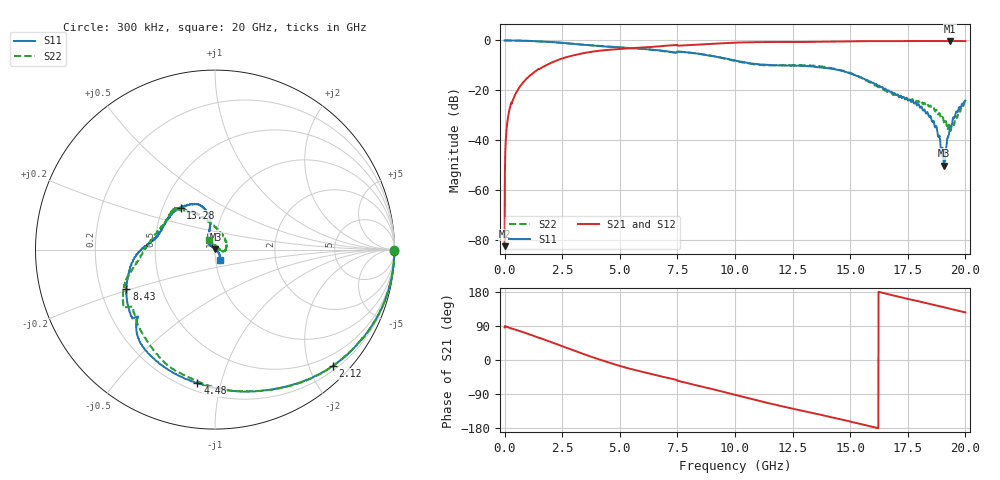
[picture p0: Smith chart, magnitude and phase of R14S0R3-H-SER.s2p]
!{R14S0R3}
!Johanson Technology Inc.
!www.johansontechnology.com
!Test Board Conditions:
!Substrate Type  RO4350B
!Substrate Thickness  20 mil
!Substrate Dk  3.66
!TL Type: GCPW
!TL Trace Width  36 mil
!TL Gap  12 mil
!Electrode orientation  Horizontal
!DUT TOPOLOGY	SERIES
!Mounting Pad LxW  26x36 mil
! Created Wed Nov 25 17:33:21 2020
! 2 Port Network Data from SP1.SP block
! freq  magS11  angS11  magS21  angS21  magS12  angS12  magS22  angS22
# khz S ma R 50
! decimated to every 10th point (10 MHz spacing) of the original 1 MHz Johanson file; values unchanged
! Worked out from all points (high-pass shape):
!   2001 points, 300 kHz to 20 GHz, reference 50 ohm
!   highest |S21| = -0.21 dB at 19.34 GHz (marker M1); lowest = -82.4 dB at 300 kHz (marker M2)
!   |S21| within 3 dB of the highest: 5.307 GHz to end of sweep
!   lowest |S11| = -50.1 dB at 19.06 GHz (marker M3), VSWR 1.01, Z = 50.3 + j0.183 ohm
!   |S11| at or under -10 dB: 12.23 GHz to 12.35 GHz (118.8 MHz wide, 0.967 % of centre); 12.35 GHz to 12.49 GHz (135.3 MHz wide, 1.09 % of centre); 12.5 GHz to end of sweep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
!   |S22| runs from -36.2 to 0.0 dB; largest |S21 - S12| = 0.011
!   S11 on the Smith chart (normalised r, x): 300 kHz: open; 2.12 GHz: 0.27, -2.41; 4.48 GHz: 0.25, -0.85; 8.43 GHz: 0.31, -0.19; 13.28 GHz: 0.62, +0.32; 20 GHz: 1.05, -0.12
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300  0.9966 -0.4  7.602e-05 85.9  0.0001273 111.6  0.9983 -0.2
120300  0.9997 -2.7  0.02347 87.3  0.02358 87.1  0.9991 -2.6
190300  0.9981 -4.3  0.03716 85.3  0.03731 85.4  0.9993 -4.2
310300  0.9974 -6.3  0.05537 83.2  0.05558 83.1  0.9982 -6.3
970300  0.9822 -19.9  0.1747 70.0  0.1747 69.9  0.9838 -19.8
2120300  0.9233 -44.6  0.374 45.0  0.3746 45.2  0.9223 -44.8
3340300  0.8267 -72.3  0.5462 17.7  0.5476 17.7  0.827 -72.1
4480300  0.7503 -97.5  0.6461 -5.7  0.6468 -5.9  0.754 -93.9
6670300  0.6355 -133.3  0.7606 -41.4  0.7625 -41.2  0.627 -128.4
8430300  0.5397 -156.1  0.8269 -68.4  0.8278 -68.2  0.5413 -158.7
1.00003e7  0.3995 178.3  0.9009 -91.9  0.9043 -91.9  0.3909 179.5
1.32803e7  0.3024 129.5  0.9365 -138.7  0.9347 -138.7  0.3164 133.6
1.33403e7  0.2997 127.0  0.9368 -139.7  0.9341 -139.7  0.3121 133.8
1.50303e7  0.2161 101.8  0.9586 -162.8  0.9592 -162.7  0.2183 116.7
1.66703e7  0.09972 110.1  0.9735 173.3  0.9732 173.6  0.09406 62.0
1.79003e7  0.04981 136.5  0.9728 155.7  0.9713 155.9  0.05793 -1.0
1.84203e7  0.02975 137.8  0.9722 148.5  0.971 148.4  0.04724 -12.3
1.86903e7  0.01815 135.3  0.9737 144.6  0.9752 144.8  0.03793 -11.8
1.90603e7  0.003132 35.5  0.9725 139.2  0.9768 139.2  0.02392 7.8
1.93403e7  0.01862 -39.4  0.9763 135.1  0.9745 135.4  0.0161 59.8
1.96603e7  0.0369 -46.4  0.9726 130.5  0.972 130.5  0.03013 98.5
2e7  0.06234 -62.9  0.9722 125.5  0.9669 125.4  0.062 123.7
